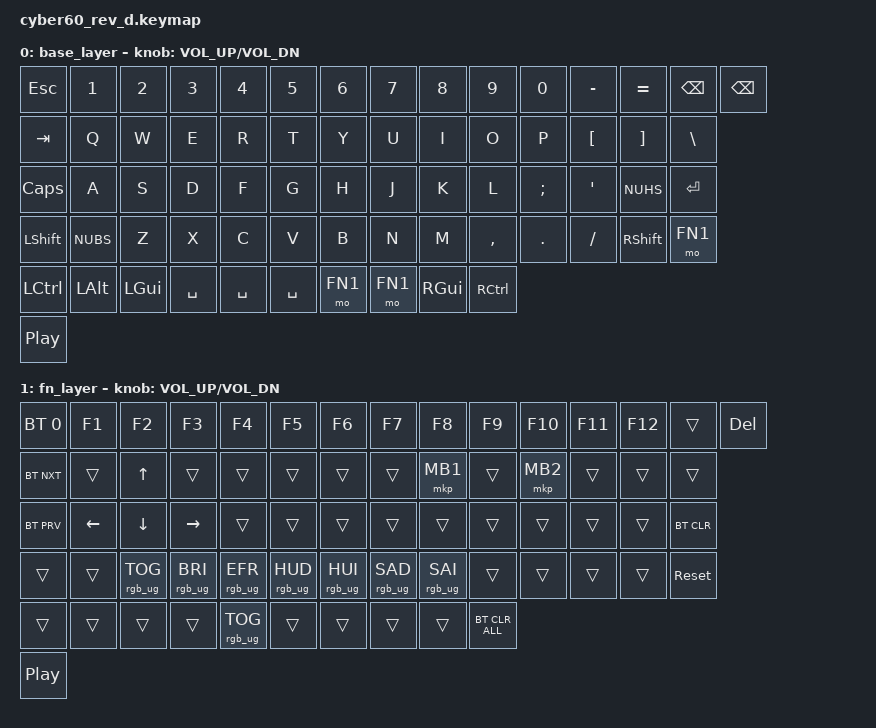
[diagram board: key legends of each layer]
#include <behaviors.dtsi>
#include <dt-bindings/zmk/bt.h>
#include <dt-bindings/zmk/keys.h>
#include <dt-bindings/zmk/mouse.h>
#include <dt-bindings/zmk/rgb.h>

#define FN1 1

/ {
    keymap {
        compatible = "zmk,keymap";

        base_layer {
            // Base layer
            // ------------------------------------------------------------------------------------------
            // | ESC |  1  |  2  |  3  |  4  |  5  |  6  |  7  |  8  |  9  |  0  |  -  |  =  |   BKSP   |
            // |  TAB |  Q  |  W  |  E  |  R  |  T  |  Y  |  U  |  I  |  O  |  P  |  [  |  ]  |   "|"   |
            // | CAPS  |  A  |  S  |  D  |  F  |  G  |  H  |  J  |  K  |  L  |  ;  |  '  |NUHS| ENTER   |
            // | SHIFT |NUBS| Z |  X  |  C  |  V  |  B  |  N  |  M  |  ,  |  .  |  /  |    Shift   | FN |
            // |  LCTL  |  LWIN  |  LALT  | SPACE  | SPACE |    SPACE   |  RALT | FN  |   RWIN  | RCTRL |
            // | Rotary | (<-- Rotary switch) ----------------------------------------------------------- 

            bindings = <
&kp ESC    &kp N1    &kp N2        &kp N3     &kp N4     &kp N5     &kp N6  &kp N7   &kp N8    &kp N9     &kp N0    &kp MINUS  &kp EQUAL  &kp BACKSPACE  &kp BSPC
&kp TAB    &kp Q     &kp W         &kp E      &kp R      &kp T      &kp Y   &kp U    &kp I     &kp O      &kp P     &kp LBKT   &kp RBKT   &kp BSLH
&kp CLCK   &kp A     &kp S         &kp D      &kp F      &kp G      &kp H   &kp J    &kp K     &kp L      &kp SEMI  &kp SQT    &kp NUHS   &kp RET
&kp LSHFT  &kp NUBS  &kp Z         &kp X      &kp C      &kp V      &kp B   &kp N    &kp M     &kp COMMA  &kp DOT   &kp FSLH   &kp RSHFT  &mo FN1
&kp LCTRL  &kp LALT  &kp LEFT_GUI  &kp SPACE  &kp SPACE  &kp SPACE  &mo FN1   &mo FN1  &kp RGUI  &kp RCTRL
&kp C_PP
            >;

            sensor-bindings = <&inc_dec_kp C_VOL_UP C_VOL_DN>;
        };

        fn_layer {
            // Function layer
            // ------------------------------------------------------------------------------------------
            // | RESET | F1 |  F2 |  F3 |  F4 |  F5 |  F6 |  F7 |  F8 |  F9 | F10 | F11 | F12 |TRNS | DEL |
            // |BT_CLR |TRNS | UP  | BT0 | BT1 | BT2 | BT3 | BT4 | TRNS | TRNS | TRNS | TRNS | TRNS | TRNS|
            // | BOOTL  |LEFT |DOWN |RIGHT|TRNS |TRNS |TRNS | TRNS| TRNS |TRNS| TRNS |TRNS | TRNS | TRNS  |
            // | TRNS |TRNS|TRNS|TRNS|TRNS | TRNS| TRNS | TRNS |  TRNS| TRNS | TRNS| TRNS |   TRNS   |TRNS|
            // |  TRNS | TRNS | TRNS |      TRNS      | TRNS |     TRNS     |  TRNS |  TRNS | TRNS | TRNS |
            // | Rotary | (<-- Rotary switch) ----------------------------------------------------------- 

            bindings = <
&bt BT_SEL 0  &kp F1    &kp F2           &kp F3           &kp F4           &kp F5           &kp F6           &kp F7           &kp F8           &kp F9          &kp F10   &kp F11  &kp F12  &trans      &kp DEL
&bt BT_NXT    &trans    &kp UP           &trans           &trans           &trans           &trans           &trans           &mkp MB1         &trans          &mkp MB2  &trans   &trans   &trans
&bt BT_PRV    &kp LEFT  &kp DOWN         &kp RIGHT        &trans           &trans           &trans           &trans           &trans           &trans          &trans    &trans   &trans   &bt BT_CLR
&trans        &trans    &rgb_ug RGB_TOG  &rgb_ug RGB_BRI  &rgb_ug RGB_EFR  &rgb_ug RGB_HUD  &rgb_ug RGB_HUI  &rgb_ug RGB_SAD  &rgb_ug RGB_SAI  &trans          &trans    &trans   &trans   &sys_reset
&trans        &trans    &trans           &trans           &rgb_ug RGB_TOG  &trans           &trans           &trans           &trans           &bt BT_CLR_ALL
&kp C_PP
            >;

            sensor-bindings = <&inc_dec_kp C_VOL_UP C_VOL_DN>;
        };
    };
};
